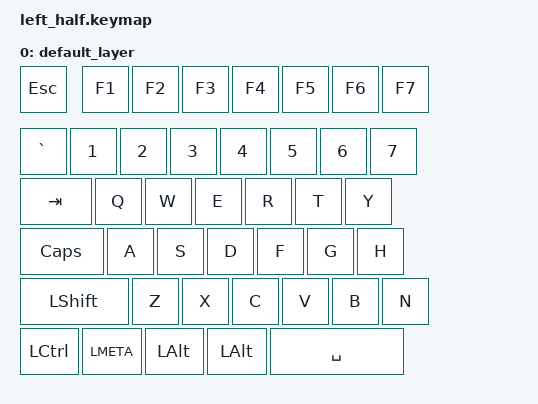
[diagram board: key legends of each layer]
// This file was generated from a template. Edit it to match your keyboard.
// See https://zmk.dev/docs/development/hardware-integration/new-shield for more instructions.

#include <behaviors.dtsi>
#include <dt-bindings/zmk/keys.h>

/ {
    // Define a default keymap here.
    // See https://zmk.dev/docs/development/hardware-integration/new-shield#default-keymap.
    keymap {
        compatible = "zmk,keymap";

        default_layer {
            bindings = <
                &kp ESC &kp F1 &kp F2 &kp F3 &kp F4 &kp F5 &kp F6 &kp F7
                &kp GRAVE &kp N1 &kp N2 &kp N3 &kp N4 &kp N5 &kp N6 &kp N7
                &kp TAB &kp Q &kp W &kp E &kp R &kp T &kp Y
                &kp CAPS &kp A &kp S &kp D &kp F &kp G &kp H
                &kp LSHIFT &kp Z &kp X &kp C &kp V &kp B &kp N
                &kp LCTRL &kp LMETA &kp LALT &kp LALT &kp SPACE
            >;
        };
    };
};

/ {
    combos {
        compatible = "zmk,combos";
        combo_bootloader {
            timeout-ms = <50>;
            key-positions = <6 7 38>; // meta + F6 + F7
            bindings = <&bootloader>;
        };
    };
};
